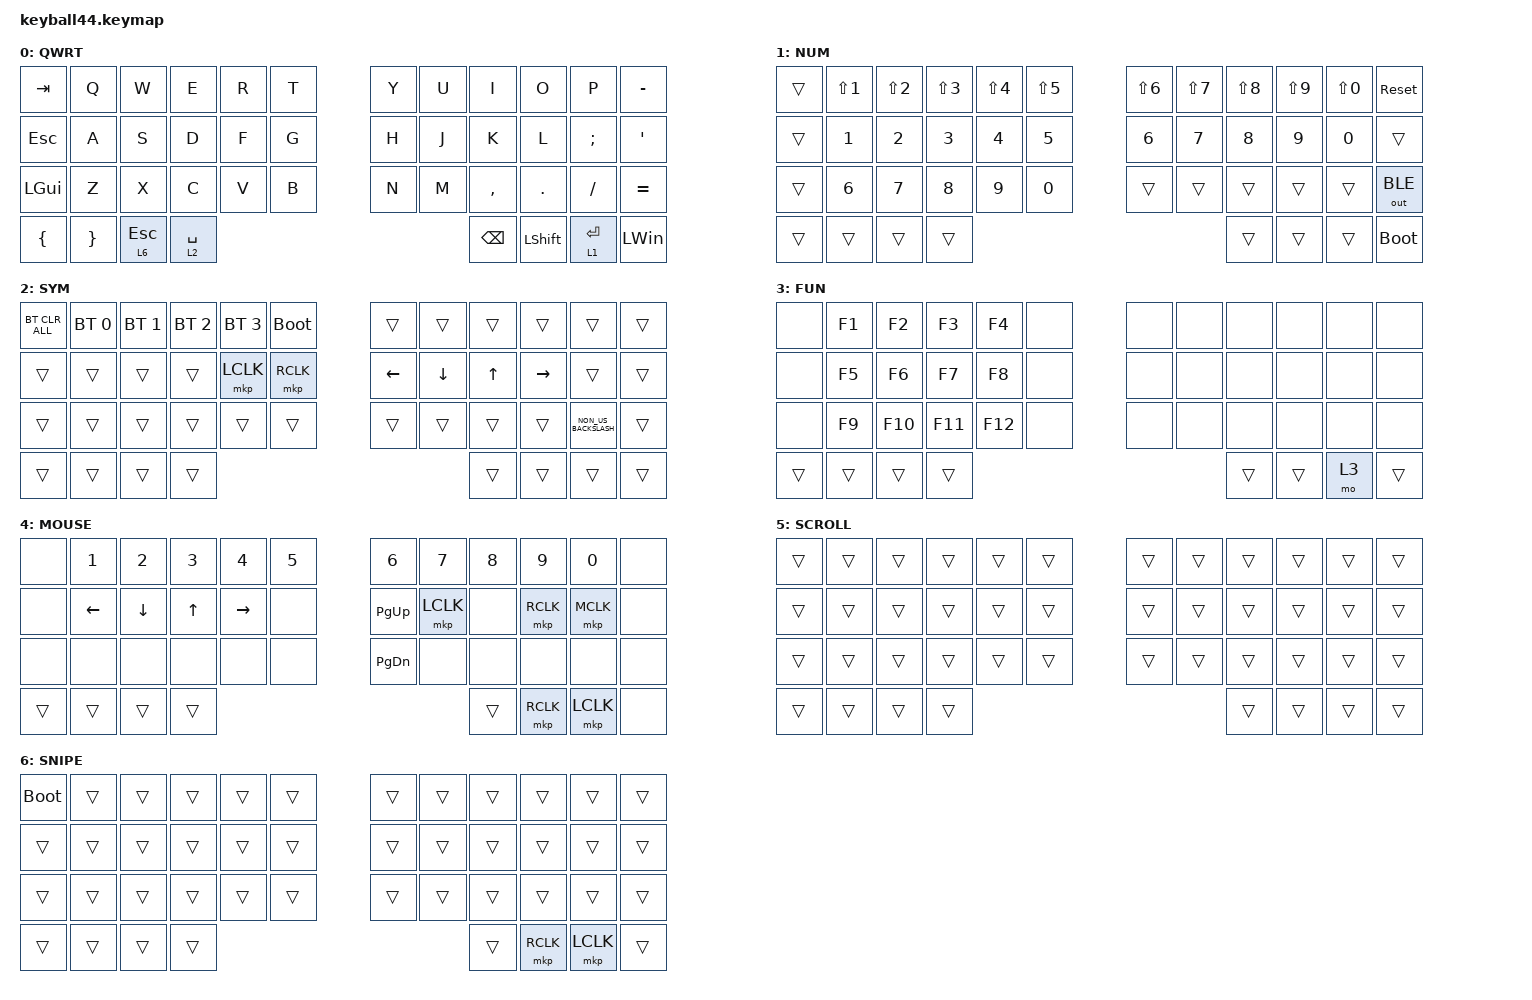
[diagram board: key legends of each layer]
#define DEFAULT 0
#define NUM     1
#define SYM     2
#define FUN     3
#define MOUSE   4
#define SCROLL  5
#define SNIPE   6

#include <behaviors/mouse_keys.dtsi>
#include <dt-bindings/zmk/mouse.h>
#include <behaviors.dtsi>
#include <dt-bindings/zmk/bt.h>
#include <dt-bindings/zmk/keys.h>
#include <dt-bindings/zmk/outputs.h>

&lt {
    tapping-term-ms = <240>;
    flavor = "balanced";
    quick-tap-ms = <150>;
};

&mt {
    tapping-term-ms = <200>;
    flavor = "tap-preferred";
    quick-tap-ms = <150>;
};

&caps_word { continue-list = <UNDERSCORE MINUS>; };

/ {
    // custom shift using mod-morph 

    behaviors {
        cmqus: comma_question {
            compatible = "zmk,behavior-mod-morph";
            label = "COMMA_QUESTION";
            #binding-cells = <0>;
            bindings = <&kp COMMA>, <&kp QUESTION>;

            mods = <(MOD_LSFT|MOD_RSFT)>;
        };

        td0: tap_dance_0 {
            compatible = "zmk,behavior-tap-dance";
            #binding-cells = <0>;
            tapping-term-ms = <300>;
            bindings = <&kp LBRC>, <&kp RBRC>, <&kp LBKT>, <&kp RBKT>;
        };

        dtsmi: dot_semi {
            compatible = "zmk,behavior-mod-morph";
            label = "DOT_SEMI";
            #binding-cells = <0>;
            bindings = <&kp DOT>, <&kp SEMI>;

            mods = <(MOD_LSFT|MOD_RSFT)>;
        };

        hm_rick: hmrick {
            compatible = "zmk,behavior-hold-tap";
            label = "HMRICK";
            bindings = <&kp>, <&kp>;

            #binding-cells = <2>;
            flavor = "tap-preferred";
            tapping-term-ms = <175>; // triggers the hold behavior when the tapping-term-ms has expired
            quick-tap-ms = <150>; // If you press a tapped hold-tap again within quick-tap-ms milliseconds of the first press, it will always trigger the tap behavior.
            require-prior-idle-ms = <185>; // like quick-tap-ms however it will apply for any non-modifier key pressed before it
        };

        ht: hold_tap {
            compatible = "zmk,behavior-hold-tap";
            label = "HOLD_TAP";
            bindings = <&kp>, <&kp>;

            #binding-cells = <2>;
            flavor = "tap-preferred";
            tapping-term-ms = <200>;
        };

        as_ht: autoshift_hold_tap {
            compatible = "zmk,behavior-hold-tap";
            label = "AUTOSHIFT_HOLD_TAP";
            #binding-cells = <2>;
            tapping-term-ms = <200>;
            bindings = <&shifted>, <&kp>;
        };

        sticky: sticky {
            compatible = "zmk,behavior-sticky-key";
            label = "STICKY";
            bindings = <&kp>;
            #binding-cells = <1>;
            release-after-ms = <10000>;
        };
    };

    macros {
        shifted: macro_shifted_kp {
            #binding-cells = <1>;
            label = "MACRO_SHIFTED_KP";
            compatible = "zmk,behavior-macro-one-param";
            bindings =
                <&macro_press>,
                <&kp LSHFT &macro_param_1to1>,
                <&macro_tap>,
                <&kp MACRO_PLACEHOLDER>,
                <&macro_release>,
                <&kp LSHFT>;
        };

        as: autoshift {
            compatible = "zmk,behavior-macro-one-param";
            #binding-cells = <1>;
            label = "AUTOSHIFT_KP";
            bindings =
                <&macro_press>,
                <&macro_param_1to1 &macro_param_1to2 &as_ht MACRO_PLACEHOLDER MACRO_PLACEHOLDER>,
                <&macro_pause_for_release>,
                <&macro_release>,
                <&macro_param_1to1 &macro_param_1to2 &as_ht MACRO_PLACEHOLDER MACRO_PLACEHOLDER>;
        };
    };

    keymap {
        compatible = "zmk,keymap";

        default_layer {
            label = "QWRT";
            bindings = <
&kp TAB         &kp Q            &kp W         &kp E        &kp R     &kp T                      &kp Y         &kp U  &kp I      &kp O    &kp P      &kp MINUS
&kp ESCAPE      &kp A            &kp S         &kp D        &kp F     &kp G                      &kp H         &kp J  &kp K      &kp L    &kp SEMI   &kp SQT
&kp LEFT_GUI    &kp Z            &kp X         &kp C        &kp V     &kp B                      &kp N         &kp M  &kp COMMA  &kp DOT  &kp SLASH  &kp EQUAL
&kp LEFT_BRACE  &kp RIGHT_BRACE  &lt 6 ESCAPE  &lt 2 SPACE  &kp BSPC             &kp LEFT_SHIFT  &lt 1 RETURN                                        &kp LEFT_WIN
            >;
        };

        number_layer {
            label = "NUM";
            bindings = <
&trans  &kp LS(NUMBER_1)  &kp LS(NUMBER_2)  &kp LS(NUMBER_3)  &kp LS(NUMBER_4)  &kp LS(NUMBER_5)              &kp LS(NUMBER_6)  &kp LS(NUMBER_7)  &kp LS(NUMBER_8)  &kp LS(NUMBER_9)  &kp LS(NUMBER_0)  &sys_reset
&trans  &kp N1            &kp N2            &kp N3            &kp N4            &kp N5                        &kp N6            &kp N7            &kp N8            &kp N9            &kp N0            &trans
&trans  &kp N6            &kp N7            &kp N8            &kp N9            &kp N0                        &trans            &trans            &trans            &trans            &trans            &out OUT_BLE
&trans  &trans            &trans            &trans            &trans                                  &trans  &trans                                                                                    &bootloader
            >;
        };

        BT {
            label = "SYM";
            bindings = <
&bt BT_CLR_ALL  &bt BT_SEL 0  &bt BT_SEL 1  &bt BT_SEL 2  &bt BT_SEL 3  &bootloader              &trans          &trans          &trans        &trans     &trans                &trans
&trans          &trans        &trans        &trans        &mkp LCLK     &mkp RCLK                &kp LEFT_ARROW  &kp DOWN_ARROW  &kp UP_ARROW  &kp RIGHT  &trans                &trans
&trans          &trans        &trans        &trans        &trans        &trans                   &trans          &trans          &trans        &trans     &kp NON_US_BACKSLASH  &trans
&trans          &trans        &trans        &trans        &trans                         &trans  &trans                                                                         &trans
            >;
        };

        function_layer {
            label = "FUN";
            bindings = <
&none   &kp F1  &kp F2   &kp F3   &kp F4   &none              &none  &none  &none  &none  &none  &none
&none   &kp F5  &kp F6   &kp F7   &kp F8   &none              &none  &none  &none  &none  &none  &none
&none   &kp F9  &kp F10  &kp F11  &kp F12  &none              &none  &none  &none  &none  &none  &none
&trans  &trans  &trans   &trans   &trans              &trans  &mo 3                              &trans
            >;
        };

        mouse_layer {
            label = "MOUSE";
            bindings = <
&none   &kp N1          &kp N2          &kp N3        &kp N4     &kp N5                 &kp N6         &kp N7     &kp N8  &kp N9     &kp N0     &none
&none   &kp LEFT_ARROW  &kp DOWN_ARROW  &kp UP_ARROW  &kp RIGHT  &none                  &kp PAGE_UP    &mkp LCLK  &none   &mkp RCLK  &mkp MCLK  &none
&none   &none           &none           &none         &none      &none                  &kp PAGE_DOWN  &none      &none   &none      &none      &none
&trans  &trans          &trans          &trans        &trans                 &mkp RCLK  &mkp LCLK                                               &none
            >;
        };

        scroll_layer {
            label = "SCROLL";
            bindings = <
&trans  &trans  &trans  &trans  &trans  &trans              &trans  &trans  &trans  &trans  &trans  &trans
&trans  &trans  &trans  &trans  &trans  &trans              &trans  &trans  &trans  &trans  &trans  &trans
&trans  &trans  &trans  &trans  &trans  &trans              &trans  &trans  &trans  &trans  &trans  &trans
&trans  &trans  &trans  &trans  &trans              &trans  &trans                                  &trans
            >;
        };

        snipe_layer {
            label = "SNIPE";
            bindings = <
&bootloader  &trans  &trans  &trans  &trans  &trans                 &trans     &trans  &trans  &trans  &trans  &trans
&trans       &trans  &trans  &trans  &trans  &trans                 &trans     &trans  &trans  &trans  &trans  &trans
&trans       &trans  &trans  &trans  &trans  &trans                 &trans     &trans  &trans  &trans  &trans  &trans
&trans       &trans  &trans  &trans  &trans              &mkp RCLK  &mkp LCLK                                  &trans
            >;
        };
    };
};
